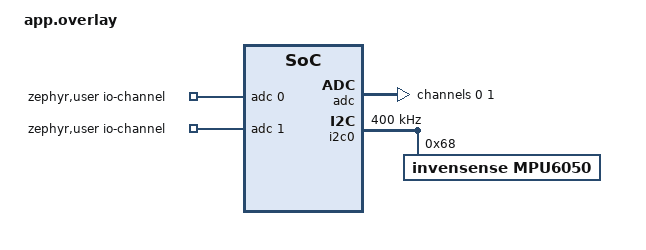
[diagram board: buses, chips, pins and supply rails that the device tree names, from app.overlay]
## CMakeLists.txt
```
cmake_minimum_required(VERSION 3.20.0)
find_package(Zephyr REQUIRED HINTS $ENV{ZEPHYR_BASE})

project(iot)

target_sources(app PRIVATE src/main.cpp)

# Llibreria C++ d'Edge Impulse
include(edge-impulse-sdk/cmake/zephyr/CMakeLists.txt)
```

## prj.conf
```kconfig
CONFIG_STDOUT_CONSOLE=y
CONFIG_I2C=y
CONFIG_SENSOR=y
CONFIG_MPU6050=y

# Bluetooth
CONFIG_BT=y
CONFIG_BT_PERIPHERAL=y
CONFIG_BT_DEVICE_NAME="QuietBar Accel"

# Soporte de punto flotante en printk
CONFIG_CBPRINTF_FP_SUPPORT=y

CONFIG_ADC=y

# Suport C++ i memòria per a Edge Impulse
CONFIG_CPP=y
CONFIG_STD_CPP11=y
CONFIG_NEWLIB_LIBC=y
CONFIG_NEWLIB_LIBC_FLOAT_PRINTF=y
CONFIG_FPU=y
CONFIG_MAIN_STACK_SIZE=4096
```

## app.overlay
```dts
/*
 * QuietBar - nRF52840 DK
 *  Microfono Grove : SIG -> P0.03 (AIN1)
 *  Bateria         : VDD interno (no necesita cable)
 *  MPU6050 (I2C0)  : SDA -> P0.26, SCL -> P0.27
 */

/ {
    zephyr,user {
        /* <&adc 0> = microfono, <&adc 1> = VDD (bateria) */
        io-channels = <&adc 0>, <&adc 1>;
    };
};

&adc {
    status = "okay";
    #address-cells = <1>;
    #size-cells = <0>;

    channel@0 {   /* microfono */
        reg = <0>;
        zephyr,gain = "ADC_GAIN_1_6";
        zephyr,reference = "ADC_REF_INTERNAL";
        zephyr,acquisition-time = <ADC_ACQ_TIME_DEFAULT>;
        zephyr,input-positive = <NRF_SAADC_AIN1>;   /* P0.03 */
        zephyr,resolution = <12>;
    };

    channel@1 {   /* VDD */
        reg = <1>;
        zephyr,gain = "ADC_GAIN_1_6";
        zephyr,reference = "ADC_REF_INTERNAL";
        zephyr,acquisition-time = <ADC_ACQ_TIME(ADC_ACQ_TIME_MICROSECONDS, 40)>;
        zephyr,input-positive = <NRF_SAADC_VDD>;
        zephyr,resolution = <12>;
    };
};

&i2c0 {
    status = "okay";
    clock-frequency = <I2C_BITRATE_FAST>;

    mpu6050: mpu6050@68 {
        compatible = "invensense,mpu6050";
        reg = <0x68>;   /* AD0 a GND o sin conectar = 0x68; AD0 a VCC = 0x69 */
        status = "okay";
    };
};
```

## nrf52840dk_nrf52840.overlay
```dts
#include <zephyr/dt-bindings/adc/adc.h>
#include <zephyr/dt-bindings/adc/nrf-adc.h>
/ {
    zephyr,user {
        io-channels = <&adc 1>;
    };
};

&adc {
    #address-cells = <1>;
    #size-cells = <0>;
    status = "okay";
    channel@1 {
        reg = <1>;
        zephyr,gain = "ADC_GAIN_1_6";
        zephyr,reference = "ADC_REF_INTERNAL";
        zephyr,acquisition-time = <ADC_ACQ_TIME_DEFAULT>;
        zephyr,resolution = <12>;
    };
};
```

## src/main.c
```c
#include <zephyr/kernel.h>
#include <zephyr/drivers/sensor.h>
#include <zephyr/drivers/adc.h>
#include <zephyr/bluetooth/bluetooth.h>
#include <zephyr/bluetooth/hci.h>
#include <zephyr/bluetooth/conn.h>
#include <zephyr/bluetooth/uuid.h>
#include <zephyr/bluetooth/gatt.h>
#include <math.h>

/*
 * QuietBar - nRF52840 DK
 *  Microfono Grove : SIG -> P0.03 (AIN1)
 *  Bateria         : VDD interno
 *  MPU6050 (I2C0)  : SDA -> P0.26, SCL -> P0.27
 *
 * Funcionamiento:
 *  - Los sensores se leen CONTINUAMENTE (~100 ms por vuelta) para no perder
 *    sonidos cortos (aplausos, golpes).
 *  - Los datos se envian al edge cada 3000 ms en NORMAL y cada 500 ms en
 *    ALERTA, con el MAXIMO registrado en ese periodo.
 *  - Al entrar en ALERTA se envia un dato inmediatamente.
 *  - Se vuelve a NORMAL tras 5000 ms seguidos sin actividad.
 *  - Bateria: cada 5 minutos (y al suscribirse el edge).
 *  - Umbrales configurables desde el edge (caracteristica CFG).
 */

/* ==========================================
   1. PARAMETROS DE FUNCIONAMIENTO
   ========================================== */

#define NORMAL_INTERVAL_MS       3000
#define ALERT_INTERVAL_MS        500

#define MOTION_THRESHOLD_MS2     2.1f
#define SOUND_THRESHOLD_ADC      120     /* silencio ~25, aplauso 300-2900 */

#define QUIET_TIME_REQUIRED_MS   5000

/* Ventana de escucha del microfono: ~100 ms */
#define MIC_SAMPLES              1500
#define MIC_WAIT_US              40

/* La bateria se lee y se notifica cada 5 minutos (independiente del modo) */
#define BATTERY_INTERVAL_MS      (5 * 60 * 1000)

/* Bateria: rango de tension VDD que se mapea a 0..100 %
 * (ajusta a tu fuente: CR2032 ~2000..3000 mV) */
#define BATTERY_FULL_MV          3000
#define BATTERY_EMPTY_MV         2000

/* ==========================================
   2. UUIDs BLE
   ========================================== */

#define BT_UUID_SOUND_SERVICE_VAL \
    BT_UUID_128_ENCODE(0x12345678, 0x1234, 0x5678, 0x1234, 0x56789abcdef0)
#define BT_UUID_SOUND_CHAR_VAL \
    BT_UUID_128_ENCODE(0x12345678, 0x1234, 0x5678, 0x1234, 0x56789abcdef1)
#define BT_UUID_ACCEL_CHAR_VAL \
    BT_UUID_128_ENCODE(0x12345678, 0x1234, 0x5678, 0x1234, 0x56789abcdef2)
#define BT_UUID_BATT_CHAR_VAL \
    BT_UUID_128_ENCODE(0x12345678, 0x1234, 0x5678, 0x1234, 0x56789abcdef3)
#define BT_UUID_CFG_CHAR_VAL \
    BT_UUID_128_ENCODE(0x12345678, 0x1234, 0x5678, 0x1234, 0x56789abcdef4)

#define BT_UUID_SOUND_SERVICE  BT_UUID_DECLARE_128(BT_UUID_SOUND_SERVICE_VAL)
#define BT_UUID_SOUND_CHAR     BT_UUID_DECLARE_128(BT_UUID_SOUND_CHAR_VAL)
#define BT_UUID_ACCEL_CHAR     BT_UUID_DECLARE_128(BT_UUID_ACCEL_CHAR_VAL)
#define BT_UUID_BATT_CHAR      BT_UUID_DECLARE_128(BT_UUID_BATT_CHAR_VAL)
#define BT_UUID_CFG_CHAR       BT_UUID_DECLARE_128(BT_UUID_CFG_CHAR_VAL)

/* ==========================================
   3. VARIABLES GLOBALES
   ========================================== */

static uint16_t sound_level_val = 0;       /* pico a pico maximo del periodo */
static uint16_t accel_magnitude_val = 0;   /* aceleracion dinamica max x100  */
static uint8_t  battery_level_val = 0;     /* 0..100 % */

/* Umbrales activos (por defecto los #define; el edge los cambia por BLE) */
static volatile uint16_t sound_threshold_adc  = SOUND_THRESHOLD_ADC;
static volatile float    motion_threshold_ms2 = MOTION_THRESHOLD_MS2;

static struct bt_conn *current_conn = NULL;

/* true cuando hay que notificar la bateria (cada 5 min o al suscribirse) */
static volatile bool battery_notify_pending = false;

/* Canal 0 de zephyr,user: microfono */
static const struct adc_dt_spec adc_channel =
    ADC_DT_SPEC_GET_BY_IDX(DT_PATH(zephyr_user), 0);

/* Canal 1 de zephyr,user: VDD (bateria) */
static const struct adc_dt_spec adc_batt =
    ADC_DT_SPEC_GET_BY_IDX(DT_PATH(zephyr_user), 1);

/* ==========================================
   4. SERVICIO GATT
   ========================================== */

static void ccc_cfg_changed(const struct bt_gatt_attr *attr, uint16_t value)
{
    printk("BLE: Notificaciones %s\n",
           (value == BT_GATT_CCC_NOTIFY) ? "activadas" : "desactivadas");
}

/* CCC de la bateria: al suscribirse se envia el valor enseguida
 * para que el edge no tenga que esperar 5 minutos al primer dato */
static void battery_ccc_changed(const struct bt_gatt_attr *attr, uint16_t value)
{
    bool notif_enabled = (value == BT_GATT_CCC_NOTIFY);

    printk("BLE: Notificaciones bateria %s\n",
           notif_enabled ? "activadas" : "desactivadas");

    if (notif_enabled) {
        battery_notify_pending = true;
    }
}

static ssize_t read_u16(struct bt_conn *conn, const struct bt_gatt_attr *attr,
                        void *buf, uint16_t len, uint16_t offset)
{
    const uint16_t *value = attr->user_data;

    return bt_gatt_attr_read(conn, attr, buf, len, offset, value, sizeof(*value));
}

static ssize_t read_u8(struct bt_conn *conn, const struct bt_gatt_attr *attr,
                       void *buf, uint16_t len, uint16_t offset)
{
    const uint8_t *value = attr->user_data;

    return bt_gatt_attr_read(conn, attr, buf, len, offset, value, sizeof(*value));
}

/* Escritura de umbrales: 4 bytes little-endian
 * [0..1] sound_threshold_adc, [2..3] motion_threshold_ms2 x100 */
static ssize_t write_cfg(struct bt_conn *conn, const struct bt_gatt_attr *attr,
                         const void *buf, uint16_t len,
                         uint16_t offset, uint8_t flags)
{
    const uint8_t *d = buf;

    if (offset != 0 || len != 4) {
        return BT_GATT_ERR(BT_ATT_ERR_INVALID_ATTRIBUTE_LEN);
    }

    sound_threshold_adc  = (uint16_t)(d[0] | (d[1] << 8));
    motion_threshold_ms2 = (float)(d[2] | (d[3] << 8)) / 100.0f;

    printk("CFG: umbral sonido=%u ADC, umbral movimiento=%.2f m/s2\n",
           sound_threshold_adc, (double)motion_threshold_ms2);

    return len;
}

/* Indices de atributos:
 * [0] servicio
 * [1] decl. sonido,  [2] valor sonido,  [3] CCC sonido
 * [4] decl. accel,   [5] valor accel,   [6] CCC accel
 * [7] decl. bateria, [8] valor bateria, [9] CCC bateria
 * [10] decl. config, [11] valor config (escritura)
 */
BT_GATT_SERVICE_DEFINE(quietbar_svc,
    BT_GATT_PRIMARY_SERVICE(BT_UUID_SOUND_SERVICE),

    /* Caracteristica 1: Microfono */
    BT_GATT_CHARACTERISTIC(BT_UUID_SOUND_CHAR,
                           BT_GATT_CHRC_READ | BT_GATT_CHRC_NOTIFY,
                           BT_GATT_PERM_READ,
                           read_u16, NULL, &sound_level_val),
    BT_GATT_CCC(ccc_cfg_changed, BT_GATT_PERM_READ | BT_GATT_PERM_WRITE),

    /* Caracteristica 2: Acelerometro */
    BT_GATT_CHARACTERISTIC(BT_UUID_ACCEL_CHAR,
                           BT_GATT_CHRC_READ | BT_GATT_CHRC_NOTIFY,
                           BT_GATT_PERM_READ,
                           read_u16, NULL, &accel_magnitude_val),
    BT_GATT_CCC(ccc_cfg_changed, BT_GATT_PERM_READ | BT_GATT_PERM_WRITE),

    /* Caracteristica 3: Bateria (%) */
    BT_GATT_CHARACTERISTIC(BT_UUID_BATT_CHAR,
                           BT_GATT_CHRC_READ | BT_GATT_CHRC_NOTIFY,
                           BT_GATT_PERM_READ,
                           read_u8, NULL, &battery_level_val),
    BT_GATT_CCC(battery_ccc_changed, BT_GATT_PERM_READ | BT_GATT_PERM_WRITE),

    /* Caracteristica 4: Umbrales (escritura desde el edge) */
    BT_GATT_CHARACTERISTIC(BT_UUID_CFG_CHAR,
                           BT_GATT_CHRC_WRITE,
                           BT_GATT_PERM_WRITE,
                           NULL, write_cfg, NULL)
);

/* ==========================================
   5. ANUNCIO BLE
   ========================================== */

static const struct bt_data ad[] = {
    BT_DATA_BYTES(BT_DATA_FLAGS, (BT_LE_AD_GENERAL | BT_LE_AD_NO_BREDR)),
    BT_DATA_BYTES(BT_DATA_UUID128_ALL, BT_UUID_SOUND_SERVICE_VAL),
};

/* El nombre va en la scan response (el anuncio principal ya esta lleno) */
static const struct bt_data sd[] = {
    BT_DATA(BT_DATA_NAME_COMPLETE, CONFIG_BT_DEVICE_NAME,
            sizeof(CONFIG_BT_DEVICE_NAME) - 1),
};

static void start_advertising(void)
{
    int err = bt_le_adv_start(BT_LE_ADV_CONN_FAST_1,
                              ad, ARRAY_SIZE(ad), sd, ARRAY_SIZE(sd));
    if (err) {
        printk("Error iniciando BLE (%d)\n", err);
    } else {
        printk("BLE: anunciando...\n");
    }
}

/* ==========================================
   6. CONEXION BLE
   ========================================== */

static void connected(struct bt_conn *conn, uint8_t err)
{
    if (err) {
        printk("Conexion BLE fallida (%u)\n", err);
        return;
    }
    printk("BLE: Dispositivo Central conectado\n");
    current_conn = bt_conn_ref(conn);
}

static void disconnected(struct bt_conn *conn, uint8_t reason)
{
    printk("BLE: Dispositivo desconectado (%u)\n", reason);
    if (current_conn) {
        bt_conn_unref(current_conn);
        current_conn = NULL;
    }
}

/* Objeto de conexion liberado: momento correcto para volver a anunciar */
static void recycled(void)
{
    start_advertising();
}

BT_CONN_CB_DEFINE(conn_callbacks) = {
    .connected    = connected,
    .disconnected = disconnected,
    .recycled     = recycled,
};

/* ==========================================
   7. CONVERSION SENSOR
   ========================================== */

static float sensor_val_to_float(const struct sensor_value *val)
{
    return (float)val->val1 + ((float)val->val2 / 1000000.0f);
}

/* ==========================================
   8. LECTURA MICROFONO GROVE
   ========================================== */

/* Pico a pico durante ~100 ms de escucha continua (igual que en la prueba) */
static uint16_t read_sound_amplitude(void)
{
    /* int16_t: cerca de 0 V el SAADC puede devolver valores negativos */
    int16_t buf;
    struct adc_sequence sequence = {
        .buffer = &buf,
        .buffer_size = sizeof(buf),
    };

    if (adc_sequence_init_dt(&adc_channel, &sequence) < 0) {
        return 0;
    }

    int16_t min_val = INT16_MAX;
    int16_t max_val = INT16_MIN;

    for (int i = 0; i < MIC_SAMPLES; i++) {
        if (adc_read_dt(&adc_channel, &sequence) == 0) {
            int16_t v = (buf < 0) ? 0 : buf;

            if (v < min_val) min_val = v;
            if (v > max_val) max_val = v;
        }
        k_busy_wait(MIC_WAIT_US);
    }

    return (max_val >= min_val) ? (uint16_t)(max_val - min_val) : 0;
}

/* ==========================================
   9. LECTURA BATERIA (VDD)
   ========================================== */

/* Devuelve el porcentaje 0..100 y guarda los mV en *mv_out */
static uint8_t read_battery_percent(int32_t *mv_out)
{
    int16_t buf;
    struct adc_sequence sequence = {
        .buffer = &buf,
        .buffer_size = sizeof(buf),
    };

    *mv_out = 0;

    if (adc_sequence_init_dt(&adc_batt, &sequence) < 0 ||
        adc_read_dt(&adc_batt, &sequence) < 0) {
        return 0;
    }

    int32_t mv = buf;

    if (adc_raw_to_millivolts_dt(&adc_batt, &mv) < 0) {
        return 0;
    }

    *mv_out = mv;

    if (mv <= BATTERY_EMPTY_MV) {
        return 0;
    }
    if (mv >= BATTERY_FULL_MV) {
        return 100;
    }
    return (uint8_t)(((mv - BATTERY_EMPTY_MV) * 100) /
                     (BATTERY_FULL_MV - BATTERY_EMPTY_MV));
}

/* ==========================================
   10. PROGRAMA PRINCIPAL
   ========================================== */

int main(void)
{
    int err;

    /* Estado del sistema */
    bool in_alert_mode = false;
    float gravity_baseline = 9.81f;

    int64_t last_report_ms = 0;
    int64_t last_activity_ms = 0;
    int64_t last_battery_ms = 0;
    bool report_now = false;

    int32_t battery_mv = 0;

    /* Maximos acumulados desde el ultimo envio */
    uint16_t period_max_sound = 0;
    float period_max_accel = 0.0f;

    /* ---- Inicializar MPU6050 ---- */
    const struct device *const accel_dev = DEVICE_DT_GET_ONE(invensense_mpu6050);

    if (!device_is_ready(accel_dev)) {
        printk("ERROR: MPU6050 no listo\n");
        return 0;
    }

    /* ---- Inicializar ADC (microfono + bateria) ---- */
    if (!adc_is_ready_dt(&adc_channel) || !adc_is_ready_dt(&adc_batt)) {
        printk("ERROR: ADC no listo\n");
        return 0;
    }

    err = adc_channel_setup_dt(&adc_channel);
    if (err < 0) {
        printk("Error configurando ADC sonido (%d)\n", err);
        return 0;
    }

    err = adc_channel_setup_dt(&adc_batt);
    if (err < 0) {
        printk("Error configurando ADC bateria (%d)\n", err);
        return 0;
    }

    /* Primera lectura de bateria (asi la caracteristica ya tiene valor) */
    battery_level_val = read_battery_percent(&battery_mv);
    last_battery_ms = k_uptime_get();

    /* ---- Inicializar Bluetooth ---- */
    err = bt_enable(NULL);
    if (err) {
        printk("Error inicializando Bluetooth (%d)\n", err);
        return 0;
    }

    start_advertising();

    /* Imprimir la MAC propia */
    bt_addr_le_t addrs[CONFIG_BT_ID_MAX];
    size_t count = CONFIG_BT_ID_MAX;

    bt_id_get(addrs, &count);
    if (count > 0) {
        char addr_str[BT_ADDR_LE_STR_LEN];

        bt_addr_le_to_str(&addrs[0], addr_str, sizeof(addr_str));
        printk("MAC nRF52840: %s\n", addr_str);
    }

    /* ---- Mensaje de inicio ---- */
    printk("\n====================================\n");
    printk("          QUIETBAR ACTIVO           \n");
    printk("====================================\n");
    printk("Sensores: MPU6050 + Grove Mic (P0.03) + VDD\n");
    printk("Envio NORMAL: %u ms | ALERTA: %u ms\n",
           NORMAL_INTERVAL_MS, ALERT_INTERVAL_MS);
    printk("Umbral movimiento: %.2f m/s2\n", (double)MOTION_THRESHOLD_MS2);
    printk("Umbral sonido: %u ADC\n", SOUND_THRESHOLD_ADC);
    printk("Tiempo para volver a NORMAL: %u ms\n", QUIET_TIME_REQUIRED_MS);
    printk("Bateria: %u%% (%d mV)\n", battery_level_val, (int)battery_mv);
    printk("====================================\n");

    last_report_ms = k_uptime_get();

    /* ---- BUCLE PRINCIPAL ---- */
    while (1) {

        /* 1. MICROFONO (~100 ms de escucha) */
        uint16_t sound = read_sound_amplitude();

        /* 2. ACELEROMETRO */
        float dynamic_accel = 0.0f;
        float total_magnitude = 0.0f;
        bool accel_ok = false;
        struct sensor_value accel[3];

        if (sensor_sample_fetch(accel_dev) == 0 &&
            sensor_channel_get(accel_dev, SENSOR_CHAN_ACCEL_XYZ, accel) == 0) {

            float ax = sensor_val_to_float(&accel[0]);
            float ay = sensor_val_to_float(&accel[1]);
            float az = sensor_val_to_float(&accel[2]);

            total_magnitude = sqrtf(ax * ax + ay * ay + az * az);
            dynamic_accel = fabsf(total_magnitude - gravity_baseline);
            accel_ok = true;
        }

        if (sound > period_max_sound) {
            period_max_sound = sound;
        }
        if (dynamic_accel > period_max_accel) {
            period_max_accel = dynamic_accel;
        }

        int64_t now = k_uptime_get();

        /* 3. BATERIA (cada 5 minutos) */
        if ((now - last_battery_ms) >= BATTERY_INTERVAL_MS) {
            battery_level_val = read_battery_percent(&battery_mv);
            last_battery_ms = now;
            battery_notify_pending = true;
        }

        /* 4. DETECCION */
        bool motion_detected = accel_ok && (dynamic_accel >= motion_threshold_ms2);
        bool sound_detected  = (sound >= sound_threshold_adc);

        /* 5. GESTION DE ESTADOS */
        if (motion_detected || sound_detected) {
            last_activity_ms = now;

            if (!in_alert_mode) {
                in_alert_mode = true;
                report_now = true;   /* avisar al edge enseguida */

                printk("\n!!! ALERTA QUIETBAR !!!\n");
                if (motion_detected) {
                    printk("Causa: MOVIMIENTO (%.2f m/s2)\n", (double)dynamic_accel);
                }
                if (sound_detected) {
                    printk("Causa: SONIDO (%u ADC)\n", sound);
                }
                printk("Nuevo intervalo: %u ms\n", ALERT_INTERVAL_MS);
            }

        } else if (in_alert_mode) {
            /* 5000 ms seguidos sin actividad -> NORMAL */
            if ((now - last_activity_ms) >= QUIET_TIME_REQUIRED_MS) {
                in_alert_mode = false;
                report_now = true;   /* avisar al edge del cambio */

                printk("\n[OK] Sin movimiento ni ruido elevado.\n");
                printk("Volviendo a modo NORMAL. Nuevo intervalo: %u ms\n",
                       NORMAL_INTERVAL_MS);
            }

        } else if (accel_ok) {
            /* Reposo: ajustar lentamente la referencia de gravedad */
            gravity_baseline = (gravity_baseline * 0.98f) +
                               (total_magnitude * 0.02f);
        }

        /* 6. ENVIO BLE SEGUN EL MODO
         * Sonido y aceleracion: 3000 ms en NORMAL, 500 ms en ALERTA.
         * Bateria: solo cada 5 minutos (o al suscribirse). */
        uint32_t interval = in_alert_mode ? ALERT_INTERVAL_MS : NORMAL_INTERVAL_MS;

        if (report_now || (now - last_report_ms) >= interval) {

            float a100 = period_max_accel * 100.0f;

            sound_level_val = period_max_sound;
            accel_magnitude_val = (a100 > 65535.0f) ? 65535 : (uint16_t)a100;

            if (current_conn != NULL) {
                bt_gatt_notify(current_conn, &quietbar_svc.attrs[2],
                               &sound_level_val, sizeof(sound_level_val));
                bt_gatt_notify(current_conn, &quietbar_svc.attrs[5],
                               &accel_magnitude_val, sizeof(accel_magnitude_val));
            }

            uint32_t quiet_ms = in_alert_mode ? (uint32_t)(now - last_activity_ms) : 0;

            printk("[%s] Mov %.2f m/s2 | Son %u ADC | Bat %u%% (%d mV) | "
                   "Quiet %u ms | Int %u ms | BLE %s\n",
                   in_alert_mode ? "ALERTA" : "NORMAL",
                   (double)period_max_accel,
                   sound_level_val,
                   battery_level_val, (int)battery_mv,
                   quiet_ms,
                   interval,
                   current_conn ? "OK" : "--");

            period_max_sound = 0;
            period_max_accel = 0.0f;
            last_report_ms = now;
            report_now = false;
        }

        /* Bateria pendiente (cada 5 min o al suscribirse el edge) */
        if (battery_notify_pending && current_conn != NULL) {
            bt_gatt_notify(current_conn, &quietbar_svc.attrs[8],
                           &battery_level_val, sizeof(battery_level_val));
            battery_notify_pending = false;
        }

        /* Pequena pausa para ceder CPU al stack Bluetooth */
        k_msleep(10);
    }

    return 0;
}
```

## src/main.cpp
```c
#include <zephyr/kernel.h>
#include <zephyr/drivers/sensor.h>
#include <zephyr/drivers/adc.h>
#include <zephyr/bluetooth/bluetooth.h>
#include <zephyr/bluetooth/hci.h>
#include <zephyr/bluetooth/conn.h>
#include <zephyr/bluetooth/uuid.h>
#include <zephyr/bluetooth/gatt.h>
#include <stdio.h>
#include <math.h>

/* ==========================================
   SELECTOR DE MODE
   1 = Gravar dades cap a Edge Impulse (Data Forwarder a 50 Hz)
   0 = Executar IA (Edge Impulse) + Enviar per BLE
   ========================================== */
#define MODE_DATA_FORWARDER      0

#if !MODE_DATA_FORWARDER
/* Quan passis a MODE 0, canvia l'extensió a .cpp i activa la llibreria */
#include "edge-impulse-sdk/classifier/ei_run_classifier.h"
static float features[EI_CLASSIFIER_DSP_INPUT_FRAME_SIZE];
#endif

/* ==========================================
   1. PARAMETROS DE FUNCIONAMENTO
   ========================================== */
#define SAMPLE_INTERVAL_MS       20      /* 50 Hz exactes per a Edge Impulse */
#define AI_CONFIDENCE_THRESHOLD  0.75f   /* Llindar mínim de confiança (75%) */

/* ==========================================
   2. UUIDs BLE (Mantenim els originals + 1 de nou per a la IA)
   ========================================== */
#define BT_UUID_SOUND_SERVICE_VAL \
    BT_UUID_128_ENCODE(0x12345678, 0x1234, 0x5678, 0x1234, 0x56789abcdef0)

#define BT_UUID_SOUND_CHAR_VAL \
    BT_UUID_128_ENCODE(0x12345678, 0x1234, 0x5678, 0x1234, 0x56789abcdef1)

#define BT_UUID_ACCEL_CHAR_VAL \
    BT_UUID_128_ENCODE(0x12345678, 0x1234, 0x5678, 0x1234, 0x56789abcdef2)

#define BT_UUID_ML_CLASS_CHAR_VAL \
    BT_UUID_128_ENCODE(0x12345678, 0x1234, 0x5678, 0x1234, 0x56789abcdef3)

#define BT_UUID_SOUND_SERVICE   BT_UUID_DECLARE_128(BT_UUID_SOUND_SERVICE_VAL)
#define BT_UUID_SOUND_CHAR      BT_UUID_DECLARE_128(BT_UUID_SOUND_CHAR_VAL)
#define BT_UUID_ACCEL_CHAR      BT_UUID_DECLARE_128(BT_UUID_ACCEL_CHAR_VAL)
#define BT_UUID_ML_CLASS_CHAR   BT_UUID_DECLARE_128(BT_UUID_ML_CLASS_CHAR_VAL)

/* ==========================================
   3. VARIABLES GLOBALS
   ========================================== */
static uint16_t sound_level_val = 0;
static uint16_t accel_magnitude_val = 0;
static uint8_t  ml_class_val = 0; /* Índex de la classe guanyadora (0, 1, 2...) */

static struct bt_conn *current_conn = NULL;

/* Canal ADC del micròfon (sense canvis) */
static const struct adc_dt_spec adc_channel =
    ADC_DT_SPEC_GET(DT_PATH(zephyr_user));

/* ==========================================
   4. SERVEI GATT
   ========================================== */
static void ccc_cfg_changed(const struct bt_gatt_attr *attr, uint16_t value)
{
#if !MODE_DATA_FORWARDER
    bool notif_enabled = (value == BT_GATT_CCC_NOTIFY);
    printk("BLE: Notificacions %s\n", notif_enabled ? "activades" : "desactivades");
#endif
}

BT_GATT_SERVICE_DEFINE(quietbar_svc,
    BT_GATT_PRIMARY_SERVICE(BT_UUID_SOUND_SERVICE),

    /* Característica 1: Micròfon (attrs[2]) */
    BT_GATT_CHARACTERISTIC(
        BT_UUID_SOUND_CHAR,
        BT_GATT_CHRC_READ | BT_GATT_CHRC_NOTIFY,
        BT_GATT_PERM_READ,
        NULL, NULL, &sound_level_val
    ),
    BT_GATT_CCC(ccc_cfg_changed, BT_GATT_PERM_READ | BT_GATT_PERM_WRITE),

    /* Característica 2: Acceleròmetre (attrs[5]) */
    BT_GATT_CHARACTERISTIC(
        BT_UUID_ACCEL_CHAR,
        BT_GATT_CHRC_READ | BT_GATT_CHRC_NOTIFY,
        BT_GATT_PERM_READ,
        NULL, NULL, &accel_magnitude_val
    ),
    BT_GATT_CCC(ccc_cfg_changed, BT_GATT_PERM_READ | BT_GATT_PERM_WRITE),

    /* Característica 3: Classe detectada per la IA (attrs[8]) */
    BT_GATT_CHARACTERISTIC(
        BT_UUID_ML_CLASS_CHAR,
        BT_GATT_CHRC_READ | BT_GATT_CHRC_NOTIFY,
        BT_GATT_PERM_READ,
        NULL, NULL, &ml_class_val
    ),
    BT_GATT_CCC(ccc_cfg_changed, BT_GATT_PERM_READ | BT_GATT_PERM_WRITE)
);

/* ==========================================
   5. CONNEXIÓ I ANUNCI BLE
   ========================================== */
static void connected(struct bt_conn *conn, uint8_t err)
{
    if (err) {
        return;
    }
    current_conn = bt_conn_ref(conn);
#if !MODE_DATA_FORWARDER
    printk("BLE: Dispositiu Central connectat\n");
#endif
}

static void disconnected(struct bt_conn *conn, uint8_t reason)
{
    if (current_conn) {
        bt_conn_unref(current_conn);
        current_conn = NULL;
    }
#if !MODE_DATA_FORWARDER
    printk("BLE: Dispositiu desconnectat (%u)\n", reason);
#endif
}

BT_CONN_CB_DEFINE(conn_callbacks) = {
    .connected = connected,
    .disconnected = disconnected,
};

static const struct bt_data ad[] = {
    BT_DATA_BYTES(BT_DATA_FLAGS, (BT_LE_AD_GENERAL | BT_LE_AD_NO_BREDR)),
    BT_DATA_BYTES(BT_DATA_UUID128_ALL, BT_UUID_SOUND_SERVICE_VAL),
};

/* ==========================================
   6. LECTURA DE SENSORS (Sense canvis respecte al teu codi)
   ========================================== */
static float sensor_val_to_float(const struct sensor_value *val)
{
    return (float)val->val1 + ((float)val->val2 / 1000000.0f);
}

static uint16_t read_sound_amplitude(void)
{
    uint16_t buf;
    struct adc_sequence sequence = {
        .buffer = &buf,
        .buffer_size = sizeof(buf),
    };

    if (adc_sequence_init_dt(&adc_channel, &sequence) < 0) {
        return 0;
    }

    uint16_t min_val = 4095;
    uint16_t max_val = 0;

    for (int i = 0; i < 20; i++) {
        if (adc_read_dt(&adc_channel, &sequence) == 0) {
            if (buf < min_val) min_val = buf;
            if (buf > max_val) max_val = buf;
        }
        k_busy_wait(100);
    }

    return (max_val >= min_val) ? (max_val - min_val) : 0;
}

/* ==========================================
   7. PROGRAMA PRINCIPAL
   ========================================== */
int main(void)
{
    int err;
    float gravity_baseline = 9.81f;

    /* Inicialitzar MPU6050 */
    const struct device *const accel_dev = DEVICE_DT_GET_ONE(invensense_mpu6050);
    if (!device_is_ready(accel_dev)) {
        printk("ERROR: MPU6050 no llest\n");
        return 0;
    }

    /* Inicialitzar ADC */
    if (!adc_is_ready_dt(&adc_channel)) {
        printk("ERROR: ADC no llest\n");
        return 0;
    }
    err = adc_channel_setup_dt(&adc_channel);
    if (err < 0) {
        printk("Error configurant ADC (%d)\n", err);
        return 0;
    }

#if !MODE_DATA_FORWARDER
    /* Inicialitzar BLE només en mode inferència per no embrutar el port sèrie */
    err = bt_enable(NULL);
    if (err) {
        printk("Error inicializando Bluetooth (%d)\n", err);
        return 0;
    }

    err = bt_le_adv_start(BT_LE_ADV_CONN_FAST_1, ad, ARRAY_SIZE(ad), NULL, 0);
    if (err) {
        printk("Error iniciando BLE (%d)\n", err);
        return 0;
    }

    printk("QUIETBAR + EDGE IMPULSE ACTIU (BLE + IA)\n");
#endif

    /* ==========================================
       BUCLE PRINCIPAL
       ========================================== */
    while (1) {

#if MODE_DATA_FORWARDER
        /* --- FASE 1: ENVIAR DADES A EDGE IMPULSE A 50 Hz --- */
        int64_t t_start = k_uptime_get();

        uint16_t sound = read_sound_amplitude();
        struct sensor_value accel[3];

        if (sensor_sample_fetch(accel_dev) == 0 &&
            sensor_channel_get(accel_dev, SENSOR_CHAN_ACCEL_XYZ, accel) == 0) {

            float ax = sensor_val_to_float(&accel[0]);
            float ay = sensor_val_to_float(&accel[1]);
            float az = sensor_val_to_float(&accel[2]);

            /* Format estricte CSV per a edge-impulse-data-forwarder */
            printk("%u,%.3f,%.3f,%.3f\n", sound, (double)ax, (double)ay, (double)az);
        }

        /* Compensem els ~2 ms de lectura per mantenir 50 Hz exactes */
        int64_t elapsed = k_uptime_get() - t_start;
        if (elapsed < SAMPLE_INTERVAL_MS) {
            k_msleep(SAMPLE_INTERVAL_MS - elapsed);
        }

#else
        /* --- FASE 2: OMPLIR BUFFER + INFERÈNCIA IA + BLE --- */
        size_t ix = 0;
        uint16_t max_sound_window = 0;
        float max_dyn_accel_window = 0.0f;

        while (ix < EI_CLASSIFIER_DSP_INPUT_FRAME_SIZE) {
            int64_t t_start = k_uptime_get();

            uint16_t sound = read_sound_amplitude();
            struct sensor_value accel[3];
            float ax = 0.0f, ay = 0.0f, az = 0.0f;

            if (sensor_sample_fetch(accel_dev) == 0 &&
                sensor_channel_get(accel_dev, SENSOR_CHAN_ACCEL_XYZ, accel) == 0) {
                ax = sensor_val_to_float(&accel[0]);
                ay = sensor_val_to_float(&accel[1]);
                az = sensor_val_to_float(&accel[2]);
            }

            /* 1. Guardem les 4 variables intercalades al buffer de la IA */
            features[ix++] = (float)sound;
            features[ix++] = ax;
            features[ix++] = ay;
            features[ix++] = az;

            /* 2. Mantenim el càlcul dels pics per enviar-los per BLE */
            if (sound > max_sound_window) {
                max_sound_window = sound;
            }
            float total_mag = sqrtf(ax * ax + ay * ay + az * az);
            float dyn_accel = fabsf(total_mag - gravity_baseline);
            if (dyn_accel > max_dyn_accel_window) {
                max_dyn_accel_window = dyn_accel;
            }
            gravity_baseline = (gravity_baseline * 0.95f) + (total_mag * 0.05f);

            int64_t elapsed = k_uptime_get() - t_start;
            if (elapsed < SAMPLE_INTERVAL_MS) {
                k_msleep(SAMPLE_INTERVAL_MS - elapsed);
            }
        }

        /* 3. Executem el classificador d'Edge Impulse */
        signal_t signal;
        ei_impulse_result_t result = { 0 };

        if (numpy::signal_from_buffer(features, EI_CLASSIFIER_DSP_INPUT_FRAME_SIZE, &signal) == 0 &&
            run_classifier(&signal, &result, false) == EI_IMPULSE_OK) {

            uint8_t best_class = 0;
            float best_score = 0.0f;

            for (size_t i = 0; i < EI_CLASSIFIER_LABEL_COUNT; i++) {
                if (result.classification[i].value > best_score) {
                    best_score = result.classification[i].value;
                    best_class = (uint8_t)i;
                }
            }

            /* Actualitzem els valors globals per al BLE */
            sound_level_val = max_sound_window;
            accel_magnitude_val = (uint16_t)(max_dyn_accel_window * 100.0f);
            ml_class_val = (best_score >= AI_CONFIDENCE_THRESHOLD) ? best_class : 255; /* 255 = incert */

            printk("[IA] Classe: %s (%.2f) | Pic So: %u | Pic Accel: %.2f m/s2\n",
                   result.classification[best_class].label,
                   (double)best_score,
                   sound_level_val,
                   (double)max_dyn_accel_window);

            /* 4. Enviem les notificacions BLE al Gateway */
            if (current_conn != NULL) {
                bt_gatt_notify(current_conn, &quietbar_svc.attrs[2], &sound_level_val, sizeof(sound_level_val));
                bt_gatt_notify(current_conn, &quietbar_svc.attrs[5], &accel_magnitude_val, sizeof(accel_magnitude_val));
                bt_gatt_notify(current_conn, &quietbar_svc.attrs[8], &ml_class_val, sizeof(ml_class_val));
            }
        }
#endif
    }

    return 0;
}
```
